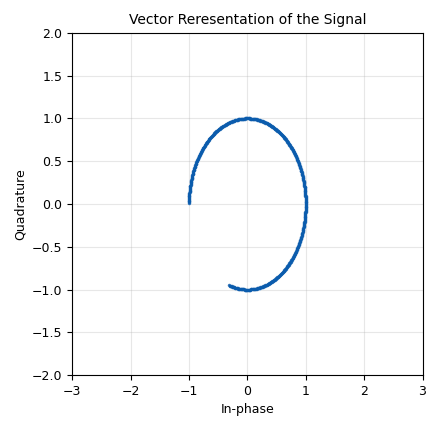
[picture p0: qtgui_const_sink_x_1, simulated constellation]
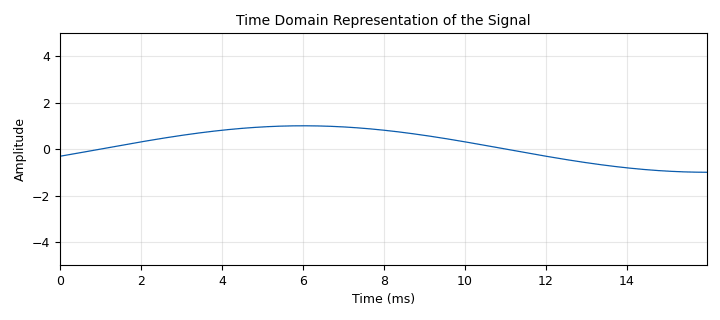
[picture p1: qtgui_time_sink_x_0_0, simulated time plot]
options:
  parameters:
    author: bulld
    generate_options: qt_gui
    id: default
    output_language: python
    title: Not titled yet
  states: {}

blocks:
- name: Amplitude
  id: variable_qtgui_range
  parameters:
    start: '0'
    step: '0.5'
    stop: '10'
    value: '1'
  states: {}
- name: Amplitude_0
  id: variable_qtgui_range
  parameters:
    start: '0'
    step: '0.5'
    stop: '10'
    value: '1'
  states: {state: disabled}
- name: Frequency
  id: variable_qtgui_range
  parameters:
    start: '0'
    step: '1'
    stop: '1000'
    value: '50'
  states: {}
- name: Frequency_0
  id: variable_qtgui_range
  parameters:
    start: '0'
    step: '0.1'
    stop: '1000'
    value: '50'
  states: {state: disabled}
- name: Phase
  id: variable_qtgui_range
  parameters:
    start: '0'
    step: '0.1'
    stop: 2*3.14159265
    value: '0'
  states: {}
- name: Phase_0
  id: variable_qtgui_range
  parameters:
    start: '0'
    step: '0.1'
    stop: 2*3.14159265
    value: '0'
  states: {state: disabled}
- name: samp_rate
  id: variable
  parameters:
    value: '32000'
  states: {}
- name: analog_sig_source_x_0_2
  id: analog_sig_source_x
  parameters:
    amp: Amplitude
    freq: Frequency
    offset: '0'
    phase: Phase
    samp_rate: samp_rate
    type: complex
    waveform: analog.GR_COS_WAVE
  states: {}
- name: analog_sig_source_x_0_2_0
  id: analog_sig_source_x
  parameters:
    amp: Amplitude_0
    freq: Frequency_0
    offset: '0'
    phase: Phase_0
    samp_rate: samp_rate
    type: complex
    waveform: analog.GR_COS_WAVE
  states: {state: disabled}
- name: blocks_complex_to_float_0
  id: blocks_complex_to_float
  parameters: {}
  states: {}
- name: blocks_complex_to_float_0_0
  id: blocks_complex_to_float
  parameters: {}
  states: {state: disabled}
- name: qtgui_const_sink_x_1
  id: qtgui_const_sink_x
  parameters:
    name: '"Vector Reresentation of the Signal"'
    size: '512'
    type: complex
    xmax: '3'
    xmin: '-3'
  states: {}
- name: qtgui_time_raster_sink_x_0
  id: qtgui_time_raster_sink_x
  parameters:
    ncols: '256'
    nrows: '256'
    samp_rate: samp_rate
    type: float
  states: {state: disabled}
- name: qtgui_time_sink_x_0_0
  id: qtgui_time_sink_x
  parameters:
    entags: 'False'
    name: '"Time Domain Representation of the Signal"'
    size: '512'
    srate: samp_rate
    type: float
    update_time: '0.1'
    ymax: '5'
    ymin: '-5'
  states: {}
- name: qtgui_waterfall_sink_x_0
  id: qtgui_waterfall_sink_x
  parameters:
    bw: '1500'
    fc: '0'
    fftsize: '512'
    type: complex
  states: {state: disabled}

connections:
- [analog_sig_source_x_0_2, '0', blocks_complex_to_float_0, '0']
- [analog_sig_source_x_0_2, '0', qtgui_const_sink_x_1, '0']
- [analog_sig_source_x_0_2_0, '0', blocks_complex_to_float_0_0, '0']
- [analog_sig_source_x_0_2_0, '0', qtgui_waterfall_sink_x_0, '0']
- [blocks_complex_to_float_0, '0', qtgui_time_sink_x_0_0, '0']
- [blocks_complex_to_float_0_0, '0', qtgui_time_raster_sink_x_0, '0']

metadata:
  file_format: 1
  grc_version: 3.10.12.0
